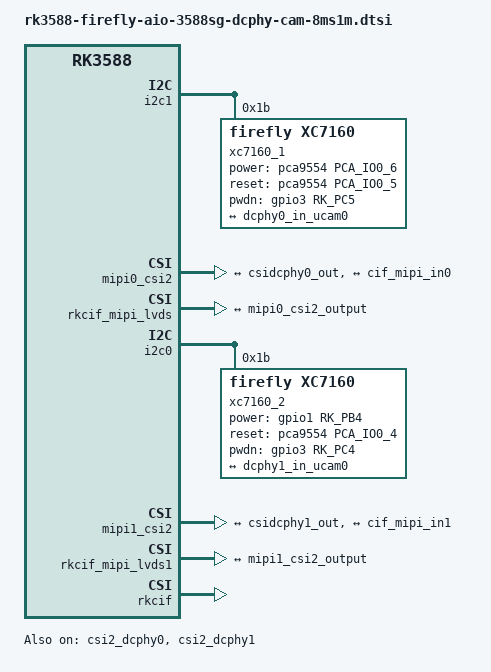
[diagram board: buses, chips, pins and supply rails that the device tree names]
// SPDX-License-Identifier: (GPL-2.0+ OR MIT)
/*
 * Copyright (c) 2023 Rockchip Electronics Co., Ltd.
 *
 */

/ {

};

&i2c1{
	status = "okay";
	pinctrl-names = "default";
	pinctrl-0 = <&i2c1m4_xfer>;

	xc7160_1: xc7160-1@1b{
		status = "okay";
		compatible = "firefly,xc7160";
		reg = <0x1b>;
		clocks = <&cru CLK_MIPI_CAMARAOUT_M4>;
		clock-names = "xvclk";
		pinctrl-names = "default";
		pinctrl-0 = <&mipim0_camera4_clk>;
		power-domains = <&power RK3588_PD_VI>;

		power-gpios = <&pca9554 PCA_IO0_6 GPIO_ACTIVE_HIGH>;
		reset-gpios = <&pca9554 PCA_IO0_5 GPIO_ACTIVE_HIGH>;
		pwdn-gpios = <&gpio3 RK_PC5 GPIO_ACTIVE_HIGH>;

		rockchip,camera-module-index = <1>;
		rockchip,camera-module-facing = "front";
		rockchip,camera-module-name = "NC";
		rockchip,camera-module-lens-name = "NC";

		port {
			xc7160_out1: endpoint {
				remote-endpoint = <&dcphy0_in_ucam0>;
				data-lanes = <1 2 3 4>;
			};
		};
	};
};

&csi2_dcphy0 {
	status = "okay";

	ports {
		#address-cells = <1>;
		#size-cells = <0>;

		port@0 {
			reg = <0>;
			#address-cells = <1>;
			#size-cells = <0>;

			dcphy0_in_ucam0: endpoint@1 {
				reg = <1>;
				remote-endpoint = <&xc7160_out1>;
				data-lanes = <1 2 3 4>;
			};
		};

		port@1 {
			reg = <1>;
			#address-cells = <1>;
			#size-cells = <0>;

			csidcphy0_out: endpoint@0 {
				reg = <0>;
				remote-endpoint = <&mipi0_csi2_input>;
			};
		};
	};
};

&mipi0_csi2 {
	status = "okay";

	ports {
		#address-cells = <1>;
		#size-cells = <0>;

		port@0 {
			reg = <0>;
			#address-cells = <1>;
			#size-cells = <0>;

			mipi0_csi2_input: endpoint@1 {
				reg = <1>;
				remote-endpoint = <&csidcphy0_out>;
			};
		};

		port@1 {
			reg = <1>;
			#address-cells = <1>;
			#size-cells = <0>;

			mipi0_csi2_output: endpoint@0 {
				reg = <0>;
				remote-endpoint = <&cif_mipi_in0>;
			};
		};
	};
};

&rkcif_mipi_lvds {
	status = "okay";

	port {
		cif_mipi_in0: endpoint {
			remote-endpoint = <&mipi0_csi2_output>;
		};
	};
};

&i2c0{
	status = "okay";
	pinctrl-names = "default";
	pinctrl-0 = <&i2c0m2_xfer>;

	xc7160_2: xc7160-2@1b {
		status = "okay";
		compatible = "firefly,xc7160";
		reg = <0x1b>;
		clocks = <&cru CLK_MIPI_CAMARAOUT_M3>;
		clock-names = "xvclk";
		pinctrl-names = "default";
		pinctrl-0 = <&mipim0_camera3_clk>;
		power-domains = <&power RK3588_PD_VI>;

		power-gpios = <&gpio1 RK_PB4 GPIO_ACTIVE_HIGH>;
		reset-gpios = <&pca9554 PCA_IO0_4 GPIO_ACTIVE_HIGH>;
		pwdn-gpios = <&gpio3 RK_PC4 GPIO_ACTIVE_HIGH>;

		rockchip,camera-module-index = <2>;
		rockchip,camera-module-facing = "back";
		rockchip,camera-module-name = "NC";
		rockchip,camera-module-lens-name = "NC";

		port {
			xc7160_out2: endpoint {
				remote-endpoint = <&dcphy1_in_ucam0>;
				data-lanes = <1 2 3 4>;
			};
		};
	};
};

&csi2_dcphy1 {
	status = "okay";

	ports {
		#address-cells = <1>;
		#size-cells = <0>;

		port@0 {
			reg = <0>;
			#address-cells = <1>;
			#size-cells = <0>;

			dcphy1_in_ucam0: endpoint@1 {
				reg = <1>;
				remote-endpoint = <&xc7160_out2>;
				data-lanes = <1 2 3 4>;
			};
		};

		port@1 {
			reg = <1>;
			#address-cells = <1>;
			#size-cells = <0>;

			csidcphy1_out: endpoint@0 {
				reg = <0>;
				remote-endpoint = <&mipi1_csi2_input>;
			};
		};
	};
};

&mipi1_csi2 {
	status = "okay";

	ports {
		#address-cells = <1>;
		#size-cells = <0>;

		port@0 {
			reg = <0>;
			#address-cells = <1>;
			#size-cells = <0>;

			mipi1_csi2_input: endpoint@1 {
				reg = <1>;
				remote-endpoint = <&csidcphy1_out>;
			};
		};

		port@1 {
			reg = <1>;
			#address-cells = <1>;
			#size-cells = <0>;

			mipi1_csi2_output: endpoint@0 {
				reg = <0>;
				remote-endpoint = <&cif_mipi_in1>;
			};
		};
	};
};

&rkcif_mipi_lvds1 {
	status = "okay";

	port {
		cif_mipi_in1: endpoint {
			remote-endpoint = <&mipi1_csi2_output>;
		};
	};
};

&rkcif {
	status = "okay";
};

&rkcif_mmu {
	status = "okay";
};
